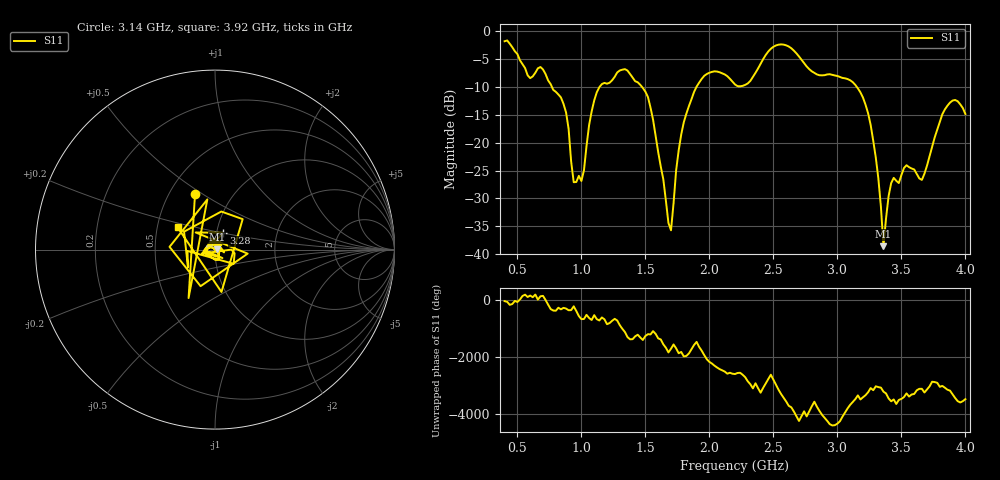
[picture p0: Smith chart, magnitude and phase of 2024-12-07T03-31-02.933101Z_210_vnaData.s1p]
!Created with skrf (http://scikit-rf.org).
# Hz S RI R 50.0
!freq ReS11 ImS11
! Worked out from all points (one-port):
!   181 points, 400 MHz to 4 GHz, reference 50 ohm
!   lowest |S11| = -38.6 dB at 3.36 GHz (marker M1), VSWR 1.02, Z = 51.2 + j0.267 ohm
!   |S11| at or under -10 dB: 769.9 MHz to 1.142 GHz (371.6 MHz wide, 38.9 % of centre); 1.474 GHz to 1.899 GHz (424.6 MHz wide, 25.2 % of centre); 3.152 GHz to end of sweep
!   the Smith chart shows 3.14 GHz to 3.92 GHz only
!   S11 on the Smith chart (normalised r, x): 3.14 GHz: 0.67, +0.47; 3.28 GHz: 1.08, +0.20; 3.92 GHz: 0.64, +0.17
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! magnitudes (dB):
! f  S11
! 400 MHz  -1.8
! 600 MHz  -8.4
! 700 MHz  -6.8
! 860 MHz  -13.0
! 900 MHz  -17.5
! 940 MHz  -27.1
! 1 GHz  -26.9
! 1.12 GHz  -11.0
! 1.3 GHz  -7.0
! 1.52 GHz  -11.8
! 1.7 GHz  -35.7
! 1.76 GHz  -21.4
! 1.84 GHz  -13.4
! 1.96 GHz  -8.0
! 2.2 GHz  -9.5
! 2.5 GHz  -2.8
! 2.66 GHz  -3.5
! 3.1 GHz  -8.8
! 3.14 GHz  -9.6
! 3.28 GHz  -19.7
! 3.32 GHz  -26.4
! 3.36 GHz  -38.6
! 3.42 GHz  -27.3
! 3.56 GHz  -24.4
! 3.66 GHz  -26.7
! 3.82 GHz  -14.9
! 3.92 GHz  -12.3
! 4 GHz  -14.9
